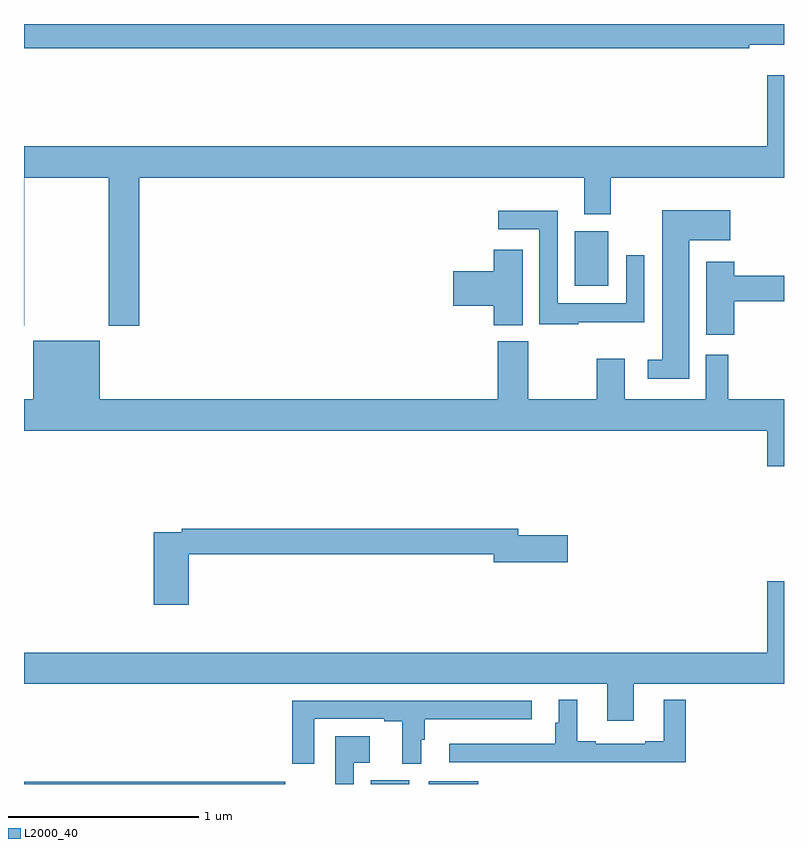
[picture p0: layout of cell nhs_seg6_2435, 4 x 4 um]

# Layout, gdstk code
import gdstk
lib = gdstk.Library(unit=1e-6, precision=1e-09)
def R(c, l, rs):  # rectangles x0, y0, x1, y1
    for r in rs: c.add(gdstk.rectangle(r[:2], r[2:], *l))
def P(c, l, *ps):  # polygons
    for p in ps: c.add(gdstk.Polygon(p, *l))
L2000_40 = (2000, 40)

nhs_seg6_2435 = lib.new_cell('nhs_seg6_2435')
R(nhs_seg6_2435, L2000_40, [(257,921.5,258.374,921.512), (258.824,921.5,259.027,921.52), (259.13,921.5,259.39,921.514), (259.898,924.122,260.074,924.409)])
P(nhs_seg6_2435, L2000_40, [(260.816,925.391),(261,925.391),(261,925.5),(257,925.5),(257,925.372),(260.816,925.372)],
  [(257.001,924.692),(257.446,924.692),(257.446,923.913),(257.606,923.913),(257.606,924.692),(259.949,924.692),(259.949,924.498),(260.089,924.498),(260.089,924.692),(261,924.692),(261,925.231),(260.912,925.231),(260.912,924.856),(257,924.856),(257,923.913),(257.001,923.913)],
  [(260.5,924.362),(260.716,924.362),(260.716,924.52),(260.36,924.52),(260.36,923.732),(260.283,923.732),(260.283,923.634),(260.5,923.634)],
  [(259.916,923.93),(260.265,923.93),(260.265,924.283),(260.169,924.283),(260.169,924.031),(259.809,924.031),(259.809,924.517),(259.497,924.517),(259.497,924.42),(259.713,924.42),(259.713,923.92),(259.916,923.92)],
  [(259.624,924.313),(259.472,924.313),(259.472,924.2),(259.26,924.2),(259.26,924.017),(259.472,924.017),(259.472,923.914),(259.624,923.914)],
  [(260.738,924.04),(261,924.04),(261,924.176),(260.738,924.176),(260.738,924.25),(260.591,924.25),(260.591,923.865),(260.738,923.865)],
  [(261,923.524),(260.707,923.524),(260.707,923.758),(260.588,923.758),(260.588,923.524),(260.161,923.524),(260.161,923.737),(260.014,923.737),(260.014,923.524),(259.653,923.524),(259.653,923.829),(259.493,923.829),(259.493,923.524),(257.398,923.524),(257.398,923.833),(257.048,923.833),(257.048,923.524),(257,923.524),(257,923.36),(260.912,923.36),(260.912,923.172),(261,923.172)],
  [(257.867,922.708),(259.472,922.708),(259.472,922.666),(259.861,922.666),(259.861,922.808),(259.6,922.808),(259.6,922.844),(257.83,922.844),(257.83,922.824),(257.684,922.824),(257.684,922.443),(257.867,922.443)],
  [(260.209,922.028),(261,922.028),(261,922.567),(260.912,922.567),(260.912,922.192),(257,922.192),(257,922.028),(260.069,922.028),(260.069,921.834),(260.209,921.834)],
  [(260.483,921.943),(260.366,921.943),(260.366,921.724),(260.27,921.724),(260.27,921.711),(260.008,921.711),(260.008,921.724),(259.912,921.724),(259.912,921.943),(259.814,921.943),(259.814,921.822),(259.795,921.822),(259.795,921.712),(259.239,921.712),(259.239,921.615),(259.938,921.615),(259.938,921.614),(260.483,921.614)],
  [(258.528,921.843),(258.896,921.843),(258.896,921.831),(258.992,921.831),(258.992,921.606),(259.09,921.606),(259.09,921.732),(259.109,921.732),(259.109,921.842),(259.672,921.842),(259.672,921.939),(258.412,921.939),(258.412,921.606),(258.528,921.606)],
  [(258.735,921.611),(258.82,921.611),(258.82,921.751),(258.639,921.751),(258.639,921.5),(258.735,921.5)])

lib.write_gds('nhs_seg6_2435.gds')
